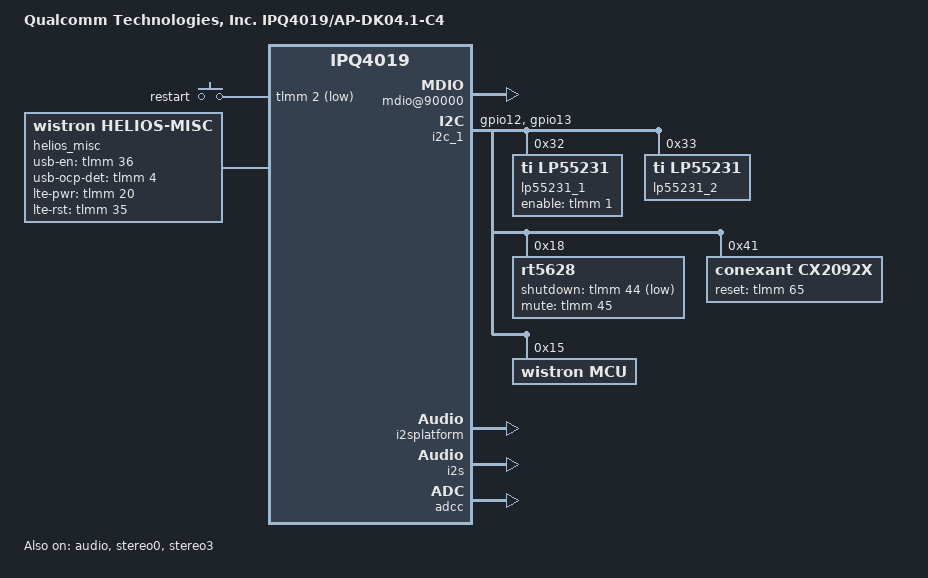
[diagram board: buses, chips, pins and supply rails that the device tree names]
/* Copyright (c) 2015-2017, The Linux Foundation. All rights reserved.
 *
 * Permission to use, copy, modify, and/or distribute this software for any
 * purpose with or without fee is hereby granted, provided that the above
 * copyright notice and this permission notice appear in all copies.
 *
 * THE SOFTWARE IS PROVIDED "AS IS" AND THE AUTHOR DISCLAIMS ALL WARRANTIES
 * WITH REGARD TO THIS SOFTWARE INCLUDING ALL IMPLIED WARRANTIES OF
 * MERCHANTABILITY AND FITNESS. IN NO EVENT SHALL THE AUTHOR BE LIABLE FOR
 * ANY SPECIAL, DIRECT, INDIRECT, OR CONSEQUENTIAL DAMAGES OR ANY DAMAGES
 * WHATSOEVER RESULTING FROM LOSS OF USE, DATA OR PROFITS, WHETHER IN AN
 * ACTION OF CONTRACT, NEGLIGENCE OR OTHER TORTIOUS ACTION, ARISING OUT OF
 * OR IN CONNECTION WITH THE USE OR PERFORMANCE OF THIS SOFTWARE.
 *
 */

#include "qcom-ipq4019-ap.dk04.1.dtsi"
#include "qcom-ipq4019-audio.dtsi"

/ {
	model = "Qualcomm Technologies, Inc. IPQ4019/AP-DK04.1-C4";

	chosen {
		bootargs-append = " clk_ignore_unused";
	};

	soc {
		pinctrl@0x01000000 {
			pinctrl-0 = <&helios_pins>;
			pinctrl-names = "default";

			helios_pins: helios_pinmux {
				//1 = UART0 as debug console ; 0 = UART0 as Zwave UART
				UART0_CTRL {
					pins = "gpio15";
					function = "gpio";
					output-high;
				};

				//Active low to reset the BT
				BT_RST {
					pins = "gpio66";
					function = "gpio";
					output-high;
				};

				//1 = BT power on ; 0 = BT power off
				BT_VREG_EN {
					pins = "gpio68";
					function = "gpio";
					output-high;
				};

				//1 = Reset button not be pressed ; 0 = Reset button be pressed
				SW_REST {
					pins = "gpio2";
					function = "gpio";
					input;
				};

				USB_FLT {
					pins = "gpio4";
					function = "gpio";
					input;
				};

				USB_EN {
					pins = "gpio36";
					function = "gpio";
					output-low;
				};

				//Audio PCM interface for BT
				PCM {
					pins = "gpio48", "gpio49", "gpio50", "gpio51";
					function = "aud_pin";
				};

				//Active low to reset the ZWAVE (at least 20ns)
				ZW_RST {
					pins = "gpio59";
					function = "gpio";
					output-high;
				};

				LTE_PWR {
					pins = "gpio20";
					function = "gpio";
					input;
				};

				LTE_RESET {
					pins = "gpio35";
					function = "gpio";
					input;
				};
			};

			i2c_1_pins: i2c_1_pinmux {
				mux {
					pins = "gpio12", "gpio13";
					function = "blsp_i2c1";
					bias-disable;
				};
			};

			audio_gpio_pins: audio_gpio_pinmux {
				mux_1 {
					pins = "gpio53";
					function = "gpio";
					output-high;
				};
				mux_2 {
					pins = "gpio57";
					function = "gpio";
					output-high;
				};
				mux_3 {
					pins = "gpio54";
					function = "gpio";
					output-high;
				};
			};
			audio_pins: audio_pinmux {
				mux_1 {
					pins = "gpio53";
					function = "i2s_tx_bclk";
				};
				mux_2 {
					pins = "gpio57";
					function = "i2s_tx_fsync";
				};
				mux_3 {
					pins = "gpio54";
					function = "i2s_td1";
				};
			};

			audio1_gpio_pins: audio1_gpio_pinmux {
				mux_1 {
					pins = "gpio60";
					function = "gpio";
					output-high;
				};
				mux_2 {
					pins = "gpio61";
					function = "gpio";
					output-high;
				};
				mux_3 {
					pins = "gpio63";
					function = "gpio";
					output-high;
				};
			};

			audio1_pins: audio1_pinmux {
				mux_1 {
					pins = "gpio60";
					function = "i2s_rx_bclk";
				};
				mux_2 {
					pins = "gpio61";
					function = "i2s_rx_fsync";
				};
				mux_3 {
					pins = "gpio63";
					function = "i2s_rxd";
				};
			};

			alc1304_pins: alc1304_pinmux {
				mux_1 {
					pins = "gpio44";
					function = "gpio";
					bias-disable;
				};
				mux_2 {
					pins = "gpio45";
					function = "gpio";
					bias-disable;
				};
			};

			cx2902x_reset: cx2902x_pinmux {
				mux_1 {
					pins = "gpio64";
					function = "gpio";
					bias-disable;
				};
				mux_2 {
					pins = "gpio65";
					function = "gpio";
					bias-disable;
				};
			};

			gpiokey_pins: gpiokey_pinmux {
				mux {
					pins = "gpio39", "gpio40", "gpio42", "gpio47";
					function = "gpio";
					bias-disable;
				};
			};

			wifi_0_pins: wifi1_pinmux {
				mux_1 {
					pins = "gpio37";
					function="wcss0_dbg16";
					bias-pull-down;
					drive-cap = <DRV_CAP_QUARTER>;
				};
				mux_2 {
					pins = "gpio43";
					function="wifi_wci1";
					bias-pull-down;
					drive-cap = <DRV_CAP_QUARTER>;
				};
				mux_3 {
					pins = "gpio52";
					output-high;
					function="gpio";
					bias-pull-up;
					drive-cap = <DRV_CAP_QUARTER>;
				};
			};
		};

		wifi0: wifi@a000000 {
			pinctrl-0 = <&wifi_0_pins>;
			pinctrl-names = "default";
			btcoex_support = <1>;
			wlan_prio_gpio = <52>;
		};

		mdio@90000 {
			status = "ok";
			pinctrl-0 = <&mdio_pins>;
			pinctrl-names = "default";
			phy-reset-gpio = <&tlmm 41 0>;
			bias-disable;
		};

		spi_0: spi@78b5000 { /* BLSP1 QUP1 */
			status = "disabled";
		};

		i2c_0: i2c@78b7000 { /* BLSP1 QUP2 */
			status = "disabled";
		};

		i2c_1: i2c@78b8000 { /* BLSP1 QUP2 */
			pinctrl-0 = <&i2c_1_pins>;
			pinctrl-names = "default";
			status = "ok";

			lp55231_1: lp55231@32 {
				compatible = "ti,lp55231";
				reg = <0x32>;
				clock-mode = /bits/ 8 <0>; /* LP55XX_CLOCK_AUTO */
				enable-gpio = <&tlmm 1 GPIO_ACTIVE_HIGH>;

				chan0 {
					chan-name = "led1_g";
					led-cur = /bits/ 8 <50>;
					max-cur = /bits/ 8 <100>;
				};

				chan1 {
					chan-name = "led1_b";
					led-cur = /bits/ 8 <50>;
					max-cur = /bits/ 8 <100>;
				};

				chan2 {
					chan-name = "led2_g";
					led-cur = /bits/ 8 <50>;
					max-cur = /bits/ 8 <100>;
				};

				chan3 {
					chan-name = "led2_b";
					led-cur = /bits/ 8 <50>;
					max-cur = /bits/ 8 <100>;
				};

				chan4 {
					chan-name = "led3_g";
					led-cur = /bits/ 8 <50>;
					max-cur = /bits/ 8 <100>;
				};

				chan5 {
					chan-name = "led3_b";
					led-cur = /bits/ 8 <50>;
					max-cur = /bits/ 8 <100>;
				};

				chan6 {
					chan-name = "led1_r";
					led-cur = /bits/ 8 <50>;
					max-cur = /bits/ 8 <100>;
				};

				chan7 {
					chan-name = "led2_r";
					led-cur = /bits/ 8 <50>;
					max-cur = /bits/ 8 <100>;
				};

				chan8 {
					chan-name = "led3_r";
					led-cur = /bits/ 8 <50>;
					max-cur = /bits/ 8 <100>;
				};
			};

			lp55231_2: lp55231@33 {
				compatible = "ti,lp55231";
				reg = <0x33>;
				clock-mode = /bits/ 8 <0>; /* LP55XX_CLOCK_AUTO */

				chan0 {
					chan-name = "led4_g";
					led-cur = /bits/ 8 <50>;
					max-cur = /bits/ 8 <100>;
				};

				chan1 {
					chan-name = "led4_b";
					led-cur = /bits/ 8 <50>;
					max-cur = /bits/ 8 <100>;
				};

				chan2 {
					chan-name = "led5_g";
					led-cur = /bits/ 8 <50>;
					max-cur = /bits/ 8 <100>;
				};

				chan3 {
					chan-name = "led5_b";
					led-cur = /bits/ 8 <50>;
					max-cur = /bits/ 8 <100>;
				};

				chan4 {
					chan-name = "led6_g";
					led-cur = /bits/ 8 <50>;
					max-cur = /bits/ 8 <100>;
				};

				chan5 {
					chan-name = "led6_b";
					led-cur = /bits/ 8 <50>;
					max-cur = /bits/ 8 <100>;
				};

				chan6 {
					chan-name = "led4_r";
					led-cur = /bits/ 8 <50>;
					max-cur = /bits/ 8 <100>;
				};

				chan7 {
					chan-name = "led5_r";
					led-cur = /bits/ 8 <50>;
					max-cur = /bits/ 8 <100>;
				};

				chan8 {
					chan-name = "led6_r";
					led-cur = /bits/ 8 <50>;
					max-cur = /bits/ 8 <100>;
				};
			};

			rt5628: rt5628@18 {
				compatible = "rt5628";
				reg = <0x18>;
				status = "ok";
				pinctrl-0 = <&alc1304_pins>;
				pinctrl-names = "default";
				shutdown-gpio = <&tlmm 44 GPIO_ACTIVE_LOW>;
				mute-gpio = <&tlmm 45 GPIO_ACTIVE_HIGH>;
			};

			conexant@41 {
				compatible = "conexant,cx2092x";
				reg = <0x41>;
				conexant,name = "cx2092x";
				reset-gpio = <&tlmm 65 GPIO_ACTIVE_HIGH>;
				pinctrl-0 = <&cx2902x_reset>;
				pinctrl-names = "default";
			};

			mcu@15 {
				compatible = "wistron,mcu";
				reg = <0x15>;
			};
		};

		gpio_input_keys {
			compatible = "gpio-input-keys";
			pinctrl-0 = <&gpiokey_pins>;
			pinctrl-names = "default";
			autorepeat;
			volup {
				label = "Volume Up";
				linux,code = <KEY_VOLUMEUP>;
				gpios = <&tlmm 39 GPIO_ACTIVE_HIGH>;
				linux,input-type = <1>;
			};
			voldown {
				label = "Volume Down";
				linux,code = <KEY_VOLUMEDOWN>;
				gpios = <&tlmm 40 GPIO_ACTIVE_HIGH>;
				linux,input-type = <1>;
			};
			alexatrigger {
				label = "Alexa Trigger";
				linux,code = <BTN_TRIGGER_HAPPY>;
				gpios = <&tlmm 42 GPIO_ACTIVE_HIGH>;
				linux,input-type = <1>;
			};
			mute {
				label = "Mute";
				linux,code = <SW_MUTE_DEVICE>;
				gpios = <&tlmm 47 GPIO_ACTIVE_LOW>;
				linux,input-type = <5>;
			};
		};

		gpio_keys {
			button@2 {
				label = "restart";
				linux,code = <KEY_RESTART>;
				gpios = <&tlmm 2 GPIO_ACTIVE_LOW>;
				linux,input-type = <1>;
			};
		};

		audio: audio@7700000 {
			compatible = "qca,ipq4019-audio-adss";
			reg = <0x7700000 0x34>,
				<0x7707000 0x20>;
			resets = <&gcc AUDIO_BLK_ARES>;
			reset-names = "blk_rst";
			status = "ok";
		};

		mbox0: mbox@7708000 {
			dma-index = <0>;
			compatible = "qca,ipq4019-mbox";
			reg = <0x7708000 0x1000>;
			interrupts = <0 156 0>;
			tx-channel = <MBOX0_TX_ID>;
			rx-channel = <MBOX0_RX_ID>;
			status = "ok";
		};

		mbox3: mbox@770e000 {
			dma-index = <3>;
			compatible = "qca,ipq4019-mbox";
			reg = <0x770E000 0x1000>;
			interrupts = <0 159 0>;
			tx-channel = <MBOX3_TX_ID>;
			rx-channel = <MBOX3_RX_ID>;
			status = "ok";
		};

		stereo0: stereo@7709000 {
			stereo-index = <STEREO0_ID>;
			compatible = "qca,ipq4019-stereo";
			reg = <0x7709000 0x1000>;
			status = "ok";
		};

		stereo3: stereo@770f000 {
			stereo-index = <STEREO3_ID>;
			compatible = "qca,ipq4019-stereo";
			reg = <0x770F000 0x1000>;
			status = "ok";
		};

		i2splatform: qca-pcm-i2s@7709000 {
			compatible = "qca,ipq4019-pcm-i2s";
			reg = <0x7709000 0x1000>;
			status = "ok";
		};

		i2s: ipq4019-pcm-i2s@0 {
			compatible = "qca,ipq4019-i2s";
			dma-tx-channel = <MBOX0_TX_ID>;
			stereo-tx-port = <STEREO0_ID>;
			dma-rx-channel = <MBOX3_RX_ID>;
			stereo-rx-port = <STEREO3_ID>;
			clocks = <&adcc ADCC_TXB_CLK_SRC>,
				<&adcc ADCC_TXM_CLK_SRC>,
				<&adcc ADCC_RXB_CLK_SRC>,
				<&adcc ADCC_RXM_CLK_SRC>;
			clock-names = "audio_tx_bclk",
				"audio_tx_mclk",
				"audio_rx_bclk",
				"audio_rx_mclk";
			status = "ok";
		};

		sound: sound@0 {
			compatible = "qca,ipq4019-audio";
			status = "ok";
			pinctrl-0 = <&audio_gpio_pins &audio1_gpio_pins>;
			pinctrl-1 = <&audio_pins &audio1_pins>;
			pinctrl-names = "default", "audio";

		};

		adcc: clock-controller@7700038 {
			status = "ok";
		};

		qcom: ledc@1937000  {
			status = "disabled";
		};

		nand: qpic-nand@79b0000 {
			status = "disabled";
		};

		sdhc_1: sdhci@7824000{
			qcom,clk-rates = <400000 25000000 50000000 100000000 \
					 192000000>;
		};

		helios_misc: helios_misc {
			compatible = "wistron,helios-misc";

			usb-en-gpio = <&tlmm 36 0>;
			usb-ocp-det-gpio = <&tlmm 4 0>;
			usb-default-on = <0>;

			lte-pwr-gpio = <&tlmm 20 0>;
			lte-rst-gpio = <&tlmm 35 0>;
			lte-default-on = <1>;

			status = "ok";
		};
	};
};
